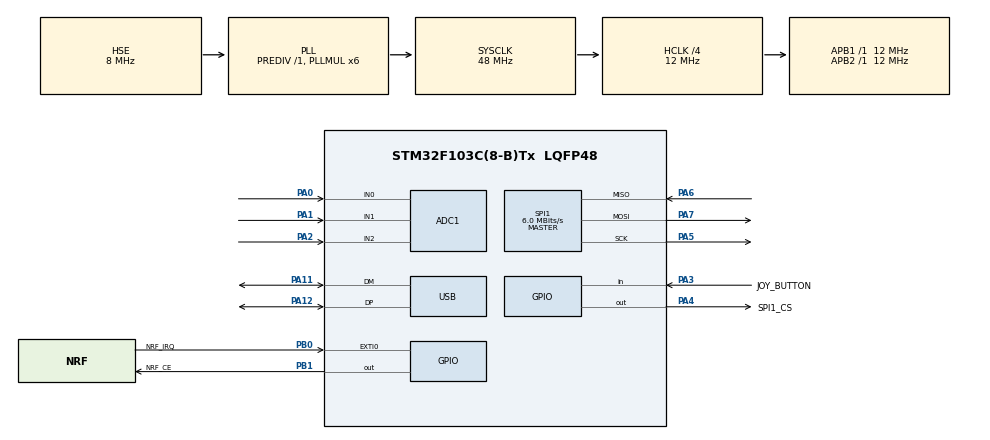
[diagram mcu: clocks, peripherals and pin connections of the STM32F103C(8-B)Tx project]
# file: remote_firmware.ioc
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ADC1.Channel-0\#ChannelRegularConversion=ADC_CHANNEL_0
ADC1.Channel-1\#ChannelRegularConversion=ADC_CHANNEL_1
ADC1.Channel-2\#ChannelRegularConversion=ADC_CHANNEL_2
ADC1.DiscontinuousConvMode=ENABLE
ADC1.NbrOfConversion=3
ADC1.NbrOfConversionFlag=1
ADC1.Rank-0\#ChannelRegularConversion=1
ADC1.Rank-1\#ChannelRegularConversion=2
ADC1.Rank-2\#ChannelRegularConversion=3
ADC1.SamplingTime-0\#ChannelRegularConversion=ADC_SAMPLETIME_1CYCLE_5
ADC1.SamplingTime-1\#ChannelRegularConversion=ADC_SAMPLETIME_1CYCLE_5
ADC1.SamplingTime-2\#ChannelRegularConversion=ADC_SAMPLETIME_1CYCLE_5
ADC1.master=1
Mcu.Family=STM32F1
Mcu.Name=STM32F103C(8-B)Tx
Mcu.Package=LQFP48
NVIC.EXTI0_IRQn=true\:0\:0\:false\:false\:true\:true\:true\:true
NVIC.PriorityGroup=NVIC_PRIORITYGROUP_4
PA0-WKUP.Signal=ADCx_IN0
PA1.Signal=ADCx_IN1
PA11.Mode=Device
PA11.Signal=USB_DM
PA12.Mode=Device
PA12.Signal=USB_DP
PA13.Mode=Serial_Wire
PA13.Signal=SYS_JTMS-SWDIO
PA14.Mode=Serial_Wire
PA14.Signal=SYS_JTCK-SWCLK
PA2.Signal=ADCx_IN2
PA3.GPIO_Label=JOY_BUTTON
PA3.Signal=GPIO_Input
PA4.GPIO_Label=SPI1_CS
PA4.Signal=GPIO_Output
PA5.Mode=Full_Duplex_Master
PA5.Signal=SPI1_SCK
PA6.Mode=Full_Duplex_Master
PA6.Signal=SPI1_MISO
PA7.Mode=Full_Duplex_Master
PA7.Signal=SPI1_MOSI
PB0.GPIO_Label=NRF_IRQ
PB0.Signal=GPXTI0
PB1.GPIO_Label=NRF_CE
PB1.Signal=GPIO_Output
PD0-OSC_IN.Mode=HSE-External-Oscillator
PD0-OSC_IN.Signal=RCC_OSC_IN
PD1-OSC_OUT.Mode=HSE-External-Oscillator
PD1-OSC_OUT.Signal=RCC_OSC_OUT
ProjectManager.HeapSize=0x200
ProjectManager.StackSize=0x400
ProjectManager.TargetToolchain=Makefile
RCC.AHBCLKDivider=RCC_SYSCLK_DIV4
RCC.AHBFreq_Value=12000000
RCC.APB1Freq_Value=12000000
RCC.APB1TimFreq_Value=12000000
RCC.APB2Freq_Value=12000000
RCC.APB2TimFreq_Value=12000000
RCC.HCLKFreq_Value=12000000
RCC.PLLMUL=RCC_PLL_MUL6
RCC.SYSCLKFreq_VALUE=48000000
RCC.SYSCLKSource=RCC_SYSCLKSOURCE_PLLCLK
RCC.USBFreq_Value=48000000
SH.ADCx_IN0.0=ADC1_IN0,IN0
SH.ADCx_IN1.0=ADC1_IN1,IN1
SH.ADCx_IN2.0=ADC1_IN2,IN2
SPI1.BaudRatePrescaler=SPI_BAUDRATEPRESCALER_2
SPI1.CalculateBaudRate=6.0 MBits/s
SPI1.Direction=SPI_DIRECTION_2LINES
SPI1.Mode=SPI_MODE_MASTER
SPI1.VirtualType=VM_MASTER
board=custom

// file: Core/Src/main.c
/* USER CODE BEGIN Header */
/**
 ******************************************************************************
 * @file           : main.c
 * @brief          : Main program body
 ******************************************************************************
 * @attention
 *
 * Copyright (c) 2023 STMicroelectronics.
 * All rights reserved.
 *
 * This software is licensed under terms that can be found in the LICENSE file
 * in the root directory of this software component.
 * If no LICENSE file comes with this software, it is provided AS-IS.
 *
 ******************************************************************************
 */
/* USER CODE END Header */
#include "main.h"
#include "adc.h"
#include "spi.h"
#include "usb.h"
#include "gpio.h"

/* USER CODE BEGIN Includes */
#include "nrf24.h"
/* USER CODE END Includes */

/* USER CODE BEGIN PD */
#define TOTAL_CHANNELS 3
#define X_DEAD_ZONE 300
#define Y_DEAD_ZONE 200
#define T_DEAD_ZONE 200
#define ADC_MAX 4095
#define ADC_MIN 0
#define X_MID_BOUND 1770
#define Y_MID_BOUND 2023
#define T_MID_BOUND 2023
#define X_TOP_BOUND X_MID_BOUND + X_DEAD_ZONE
#define X_BOT_BOUND X_MID_BOUND - X_DEAD_ZONE
#define Y_TOP_BOUND Y_MID_BOUND + Y_DEAD_ZONE
#define Y_BOT_BOUND Y_MID_BOUND - Y_DEAD_ZONE
#define T_TOP_BOUND T_MID_BOUND + T_DEAD_ZONE
#define T_BOT_BOUND T_MID_BOUND - T_DEAD_ZONE
/* USER CODE END PD */

/* USER CODE BEGIN PV */
struct __attribute__((__packed__)) remote_msg {
    uint8_t start;
    uint8_t button;
    int16_t x_axis;
    int16_t y_axis;
    int16_t twist;
};

union msg_tx {
    struct remote_msg deserial;
    uint8_t serial[8];
};

volatile union msg_tx msg_tx;
volatile uint8_t button_down = 0;
/* USER CODE END PV */

void SystemClock_Config(void);

int main(void)
{
  /* USER CODE BEGIN 1 */
    msg_tx.deserial.start = 0x01;
    msg_tx.deserial.button = 0x00;
    msg_tx.deserial.x_axis = 0x0000;
    msg_tx.deserial.y_axis = 0x0000;
    msg_tx.deserial.twist = 0x0000;
  /* USER CODE END 1 */

  /* MCU Configuration--------------------------------------------------------*/

  /* Reset of all peripherals, Initializes the Flash interface and the Systick. */
  HAL_Init();

  /* Configure the system clock */
  SystemClock_Config();

  /* Initialize all configured peripherals */
  MX_GPIO_Init();
  MX_SPI1_Init();
  MX_ADC1_Init();
  MX_USB_PCD_Init();
  /* USER CODE BEGIN 2 */
    HAL_ADCEx_Calibration_Start(&hadc1);
    HAL_Delay(10);

    nRF24_Init();
    while(!nRF24_Check());

    nRF24_SetAddrWidth(5);
    uint8_t id[6] = {1, 0, 0, 0, 255, 0};
    nRF24_DisableAA(0xFF);
    nRF24_SetRFChannel(70);
    nRF24_SetTXPower(nRF24_TXPWR_0dBm);
    nRF24_SetDataRate(nRF24_DR_250kbps);
    nRF24_SetAddr(nRF24_PIPETX,id);
    nRF24_SetOperationalMode(nRF24_MODE_TX);
    nRF24_SetPowerMode(nRF24_PWR_UP);
  /* USER CODE END 2 */

  /* Infinite loop */
  /* USER CODE BEGIN WHILE */
    uint8_t adc_channel = 0;
    uint32_t timestamp = HAL_GetTick();

    uint8_t status = 0;
    while (1) {
        volatile int32_t x_axis, y_axis, twist;
        adc_channel = 0;
        x_axis = 0;
        y_axis = 0;
        twist = 0;
        if (HAL_GetTick() - timestamp >= 5) {
            while(adc_channel < TOTAL_CHANNELS) {
                HAL_ADC_Start(&hadc1);
                HAL_ADC_PollForConversion(&hadc1, 1);

                switch(adc_channel) {
                    case 0:
                        x_axis = HAL_ADC_GetValue(&hadc1);
                        break;
                    case 1:
                        y_axis = HAL_ADC_GetValue(&hadc1);
                        break;
                    case 2:
                        twist = HAL_ADC_GetValue(&hadc1);
                        break;
                    default:
                        adc_channel = 4;
                };

                adc_channel += 1;
            }

            if (x_axis < X_BOT_BOUND) {
                msg_tx.deserial.x_axis = (x_axis - X_BOT_BOUND) * 1000/ X_BOT_BOUND;
            }
            else if (x_axis > X_TOP_BOUND) {
                msg_tx.deserial.x_axis = (x_axis - X_TOP_BOUND) * 1000 / X_BOT_BOUND;
            }
            else {
                msg_tx.deserial.x_axis = 0;
            }

            if (y_axis < Y_BOT_BOUND) {
                msg_tx.deserial.y_axis = (y_axis - Y_BOT_BOUND) * 1000 / Y_BOT_BOUND;
            }
            else if (y_axis > Y_TOP_BOUND) {
                msg_tx.deserial.y_axis = (y_axis - Y_TOP_BOUND) * 1000 / Y_BOT_BOUND;
            }
            else {
                msg_tx.deserial.y_axis = 0;
            }

            if (twist < T_BOT_BOUND) {
                msg_tx.deserial.twist = (twist - T_BOT_BOUND) * 1000 / T_BOT_BOUND;
            }
            else if (twist > T_TOP_BOUND) {
                msg_tx.deserial.twist = (twist - T_TOP_BOUND) * 1000 / T_BOT_BOUND;
            }
            else {
                msg_tx.deserial.twist = 0;
            }

            msg_tx.deserial.button = HAL_GPIO_ReadPin(JOY_BUTTON_GPIO_Port, JOY_BUTTON_Pin);

            timestamp = HAL_GetTick();
        }

        nRF24_WritePayload((uint8_t*) msg_tx.serial, sizeof(msg_tx.serial)); // pass data pointer
        nRF24_CE_H; // activate coms to nrf, starts tx
        while (1) {
            status = nRF24_GetStatus();
            if (status & (nRF24_FLAG_TX_DS | nRF24_FLAG_MAX_RT)) {
                break;
            }
        }
        nRF24_CE_L; // deactivate coms to nrf
        nRF24_ClearIRQFlags();
    /* USER CODE END WHILE */

    }
}

void SystemClock_Config(void)
{
  RCC_OscInitTypeDef RCC_OscInitStruct = {0};
  RCC_ClkInitTypeDef RCC_ClkInitStruct = {0};
  RCC_PeriphCLKInitTypeDef PeriphClkInit = {0};

  /** Initializes the RCC Oscillators according to the specified parameters
  * in the RCC_OscInitTypeDef structure.
  */
  RCC_OscInitStruct.OscillatorType = RCC_OSCILLATORTYPE_HSE;
  RCC_OscInitStruct.HSEState = RCC_HSE_ON;
  RCC_OscInitStruct.HSEPredivValue = RCC_HSE_PREDIV_DIV1;
  RCC_OscInitStruct.HSIState = RCC_HSI_ON;
  RCC_OscInitStruct.PLL.PLLState = RCC_PLL_ON;
  RCC_OscInitStruct.PLL.PLLSource = RCC_PLLSOURCE_HSE;
  RCC_OscInitStruct.PLL.PLLMUL = RCC_PLL_MUL6;
  if (HAL_RCC_OscConfig(&RCC_OscInitStruct) != HAL_OK)
  {
    Error_Handler();
  }

  /** Initializes the CPU, AHB and APB buses clocks
  */
  RCC_ClkInitStruct.ClockType = RCC_CLOCKTYPE_HCLK|RCC_CLOCKTYPE_SYSCLK
                              |RCC_CLOCKTYPE_PCLK1|RCC_CLOCKTYPE_PCLK2;
  RCC_ClkInitStruct.SYSCLKSource = RCC_SYSCLKSOURCE_PLLCLK;
  RCC_ClkInitStruct.AHBCLKDivider = RCC_SYSCLK_DIV4;
  RCC_ClkInitStruct.APB1CLKDivider = RCC_HCLK_DIV1;
  RCC_ClkInitStruct.APB2CLKDivider = RCC_HCLK_DIV1;

  if (HAL_RCC_ClockConfig(&RCC_ClkInitStruct, FLASH_LATENCY_1) != HAL_OK)
  {
    Error_Handler();
  }
  PeriphClkInit.PeriphClockSelection = RCC_PERIPHCLK_ADC|RCC_PERIPHCLK_USB;
  PeriphClkInit.AdcClockSelection = RCC_ADCPCLK2_DIV2;
  PeriphClkInit.UsbClockSelection = RCC_USBCLKSOURCE_PLL;
  if (HAL_RCCEx_PeriphCLKConfig(&PeriphClkInit) != HAL_OK)
  {
    Error_Handler();
  }
}

void Error_Handler(void)
{
    __disable_irq();
    while (1)
    {
    }
}
